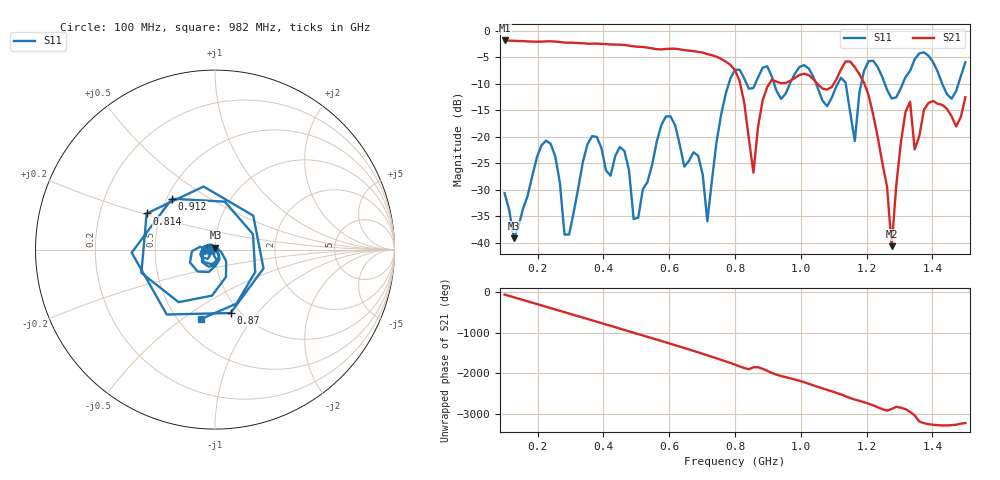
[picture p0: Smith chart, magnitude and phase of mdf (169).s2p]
! NanoVNA-App
! Date: 2025-09-26 09:41:03
! Start: 100MHz Stop: 1,5GHz Points: 101
! S-Parameter data: F S11 S21 S12 S22
# Hz S RI R 50
!  Frequency  S11_Real  S11_Imag  S21_Real  S21_Imag  S12_Real  S12_Imag  S22_Real  S22_Imag
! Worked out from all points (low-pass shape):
!   101 points, 100 MHz to 1.5 GHz, reference 50 ohm
!   highest |S21| = -1.79 dB at 100 MHz (marker M1); lowest = -40.6 dB at 1.276 GHz (marker M2)
!   |S21| within 3 dB of the highest: start of sweep to 740.7 MHz
!   lowest |S11| = -39.2 dB at 128 MHz (marker M3), VSWR 1.02, Z = 50.3 + j1.07 ohm
!   |S11| at or under -10 dB: start of sweep to 780.9 MHz; 1.047 GHz to 1.112 GHz (65.15 MHz wide, 6.04 % of centre); 1.255 GHz to 1.309 GHz (53.84 MHz wide, 4.2 % of centre)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
!   S12 and S22 are empty: the file has one direction only
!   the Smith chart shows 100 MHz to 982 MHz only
!   S11 on the Smith chart (normalised r, x): 100 MHz: 0.94, -0.01; 814 MHz: 0.42, +0.21; 870 MHz: 0.91, -0.74; 912 MHz: 0.53, +0.35; 982 MHz: 0.64, -0.59
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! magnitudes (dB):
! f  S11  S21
! 100 MHz  -30.6  -1.8
! 128 MHz  -39.2  -1.9
! 212 MHz  -21.6  -2.0
! 282 MHz  -38.4  -2.2
! 338 MHz  -24.7  -2.3
! 464 MHz  -22.6  -2.6
! 506 MHz  -35.3  -3.0
! 576 MHz  -17.8  -3.5
! 716 MHz  -35.9  -4.4
! 800 MHz  -7.3  -7.4
! 814 MHz  -7.3  -9.5
! 856 MHz  -10.8  -26.7
! 870 MHz  -8.8  -18.1
! 912 MHz  -8.6  -9.2
! 982 MHz  -8.0  -8.9
! 1.038 GHz  -8.6  -9.1
! 1.164 GHz  -20.8  -6.8
! 1.192 GHz  -7.5  -9.8
! 1.276 GHz  -12.8  -40.6
! 1.332 GHz  -7.5  -13.4
! 1.346 GHz  -5.3  -22.4
! 1.5 GHz  -5.9  -12.5
